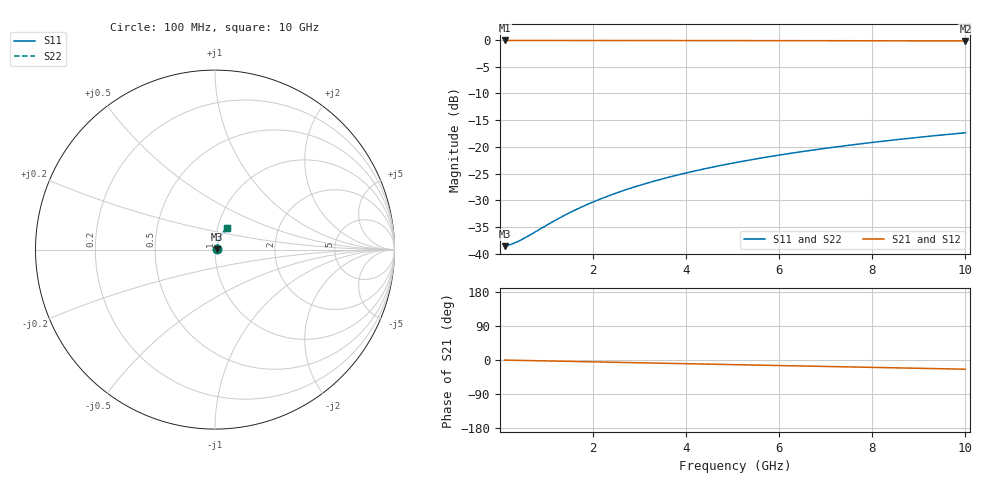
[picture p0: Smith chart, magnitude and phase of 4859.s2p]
# Hz S RI R 50.00
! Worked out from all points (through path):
!   100 points, 100 MHz to 10 GHz, reference 50 ohm
!   highest |S21| = -0.10 dB at 100 MHz (marker M1); lowest = -0.2 dB at 10 GHz (marker M2)
!   group delay of S21, straight-line fit = 6.75 ps
!   lowest |S11| = -38.6 dB at 100 MHz (marker M3), VSWR 1.02, Z = 51.2 + j0.138 ohm
!   |S11| at or under -10 dB: start of sweep to end of sweep
!   |S22| runs from -38.6 to -17.4 dB; largest |S21 - S12| = 0
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1e8  0.0117 0.00135  0.9883 -0.00421  0.9883 -0.00421  0.0117 0.00135
2e8  0.0118 0.0027  0.9882 -0.00842  0.9882 -0.00842  0.0118 0.0027
3e8  0.0119 0.00404  0.9881 -0.0126  0.9881 -0.0126  0.0119 0.00404
4e8  0.0119 0.00539  0.988 -0.0168  0.988 -0.0168  0.0119 0.00539
6e8  0.0121 0.00808  0.9877 -0.0252  0.9877 -0.0252  0.0121 0.00808
1e9  0.0126 0.0134  0.987 -0.0421  0.987 -0.0421  0.0126 0.0134
1.3e9  0.0131 0.0175  0.9862 -0.0547  0.9862 -0.0547  0.0131 0.0175
1.5e9  0.0134 0.0201  0.9856 -0.0631  0.9856 -0.0631  0.0134 0.0201
1.8e9  0.014 0.0241  0.9846 -0.0756  0.9846 -0.0756  0.014 0.0241
2.1e9  0.0148 0.0281  0.9834 -0.0882  0.9834 -0.0882  0.0148 0.0281
2.5e9  0.0159 0.0334  0.9815 -0.1049  0.9815 -0.1049  0.0159 0.0334
2.9e9  0.0171 0.0386  0.9793 -0.1215  0.9793 -0.1215  0.0171 0.0386
3.4e9  0.019 0.045  0.9762 -0.1423  0.9762 -0.1423  0.019 0.045
3.8e9  0.0207 0.0501  0.9733 -0.1588  0.9733 -0.1588  0.0207 0.0501
4.2e9  0.0225 0.0552  0.9701 -0.1753  0.9701 -0.1753  0.0225 0.0552
4.6e9  0.0245 0.0601  0.9666 -0.1916  0.9666 -0.1916  0.0245 0.0601
5.1e9  0.0273 0.0663  0.9619 -0.212  0.9619 -0.212  0.0273 0.0663
5.9e9  0.0322 0.0758  0.9533 -0.2443  0.9533 -0.2443  0.0322 0.0758
6.7e9  0.0378 0.0849  0.9435 -0.2761  0.9435 -0.2761  0.0378 0.0849
7.5e9  0.0439 0.0936  0.9326 -0.3075  0.9326 -0.3075  0.0439 0.0936
8.4e9  0.0515 0.1028  0.9191 -0.3422  0.9191 -0.3422  0.0515 0.1028
1e10  0.0666 0.1177  0.8916 -0.4021  0.8916 -0.4021  0.0666 0.1177
